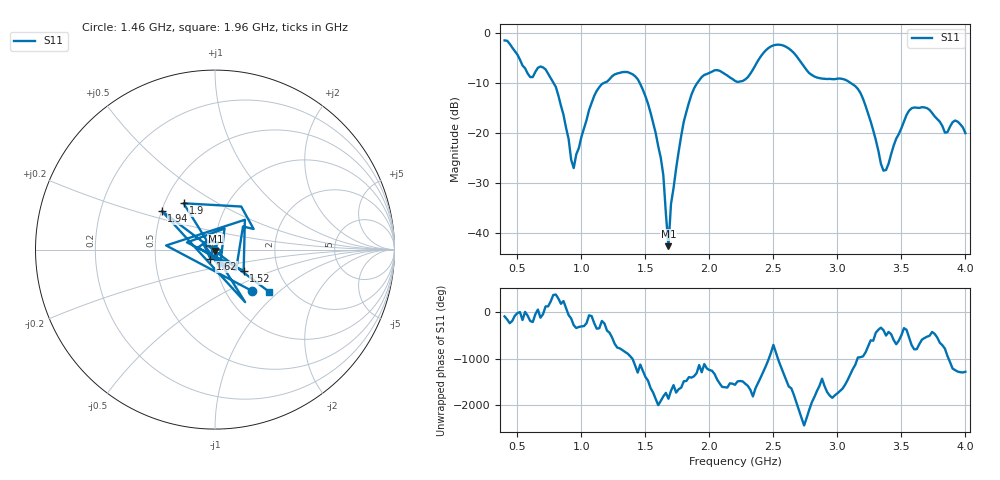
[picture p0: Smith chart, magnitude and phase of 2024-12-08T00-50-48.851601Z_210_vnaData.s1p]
!Created with skrf (http://scikit-rf.org).
# Hz S RI R 50.0
!freq ReS11 ImS11
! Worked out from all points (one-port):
!   181 points, 400 MHz to 4 GHz, reference 50 ohm
!   lowest |S11| = -42.6 dB at 1.68 GHz (marker M1), VSWR 1.02, Z = 50.3 - j0.703 ohm
!   |S11| at or under -10 dB: 783.9 MHz to 1.17 GHz (386.6 MHz wide, 39.6 % of centre); 1.457 GHz to 1.904 GHz (446.4 MHz wide, 26.6 % of centre); 3.108 GHz to end of sweep
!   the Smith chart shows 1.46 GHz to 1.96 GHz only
!   S11 on the Smith chart (normalised r, x): 1.46 GHz: 1.33, -0.68; 1.52 GHz: 1.33, -0.33; 1.62 GHz: 0.95, -0.10; 1.9 GHz: 0.62, +0.36; 1.94 GHz: 0.50, +0.25; 1.96 GHz: 1.57, -0.87
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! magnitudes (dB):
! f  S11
! 400 MHz  -1.4
! 600 MHz  -8.8
! 720 MHz  -7.2
! 860 MHz  -16.3
! 940 MHz  -26.9
! 1.1 GHz  -12.5
! 1.3 GHz  -7.9
! 1.46 GHz  -10.1
! 1.52 GHz  -14.0
! 1.62 GHz  -24.9
! 1.64 GHz  -28.3
! 1.68 GHz  -42.6
! 1.7 GHz  -34.1
! 1.76 GHz  -23.6
! 1.8 GHz  -17.6
! 1.9 GHz  -10.1
! 1.94 GHz  -8.7
! 1.96 GHz  -8.3
! 2.2 GHz  -9.5
! 2.48 GHz  -2.6
! 2.66 GHz  -3.9
! 2.82 GHz  -8.6
! 3.1 GHz  -9.9
! 3.2 GHz  -13.1
! 3.36 GHz  -27.5
! 3.56 GHz  -15.5
! 3.7 GHz  -15.0
! 4 GHz  -20.0
